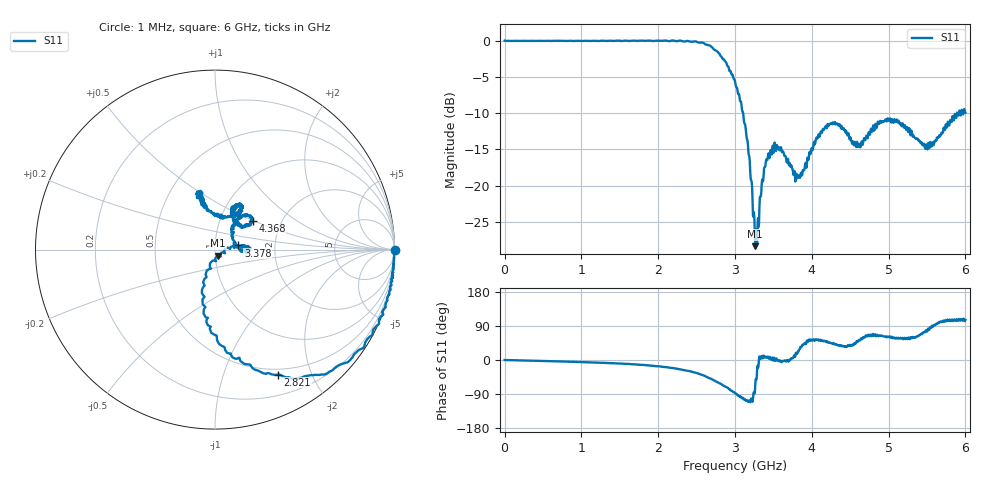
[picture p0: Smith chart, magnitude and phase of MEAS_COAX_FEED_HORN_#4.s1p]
# GHZ S DB R 50.000000000000
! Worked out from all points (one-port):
!   1001 points, 1 MHz to 6 GHz, reference 50 ohm
!   lowest |S11| = -28.3 dB at 3.264 GHz (marker M1), VSWR 1.08, Z = 51.6 - j3.55 ohm
!   |S11| at or under -10 dB: 3.106 GHz to 5.891 GHz (2.785 GHz wide, 61.9 % of centre); 5.898962 GHz to 5.915999 GHz (17.04 MHz wide, 0.288 % of centre); 5.932625 GHz to 5.944584 GHz (11.96 MHz wide, 0.201 % of centre)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
!   S11 on the Smith chart (normalised r, x): 1 MHz: open; 2.821 GHz: 0.43, -1.53; 3.378 GHz: 1.30, +0.06; 4.368 GHz: 1.43, +0.49; 6 GHz: 0.70, +0.48
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0.001  0.02 -0.1
0.750875  -0.00 -3.9
1.50075  0.02 -8.9
2.250625  -0.05 -23.2
2.574571  -0.25 -39.7
2.682553  -0.72 -49.2
2.82053  -2.17 -63.3
3.0005  -5.59 -87.6
3.078487  -8.39 -97.8
3.156474  -13.63 -106.1
3.192468  -16.57 -110.6
3.264456  -28.34 -64.0
3.288452  -28.02 -25.2
3.378437  -17.60 10.2
3.438427  -15.52 5.3
3.54041  -14.71 4.2
3.750375  -17.75 4.8
3.846359  -18.92 30.4
4.146309  -12.15 49.9
4.368272  -11.60 37.0
4.50025  -13.32 39.9
4.632228  -14.71 52.8
4.86019  -11.16 64.8
4.992168  -10.71 60.4
5.250125  -12.39 55.3
5.502083  -14.88 75.3
5.742043  -11.60 104.8
6  -9.93 105.9
